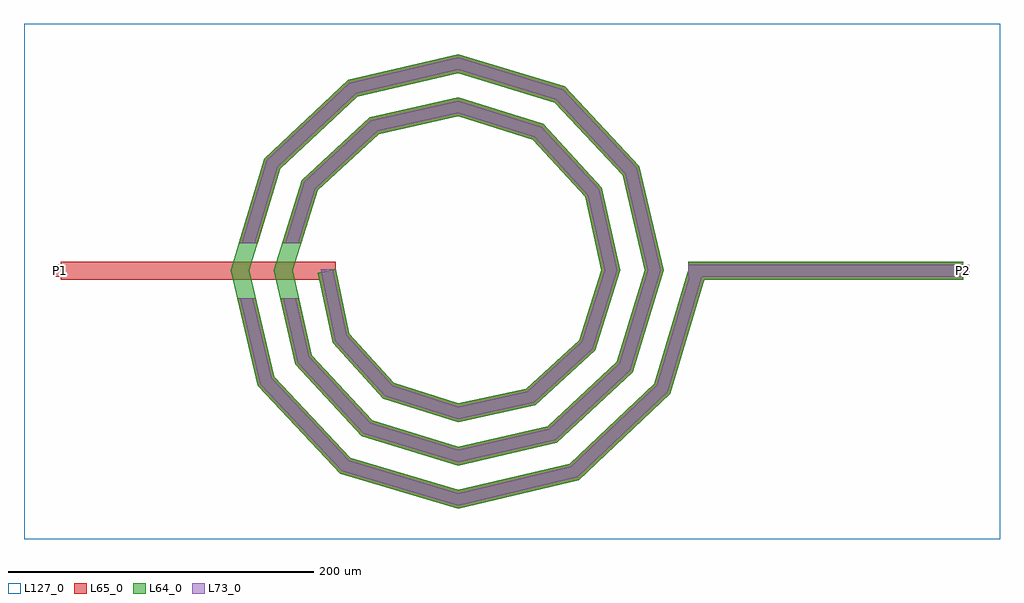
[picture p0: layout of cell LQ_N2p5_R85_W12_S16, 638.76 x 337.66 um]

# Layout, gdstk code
import gdstk
lib = gdstk.Library(unit=1e-6, precision=1e-09)
def R(c, l, rs):  # rectangles x0, y0, x1, y1
    for r in rs: c.add(gdstk.rectangle(r[:2], r[2:], *l))
def P(c, l, *ps):  # polygons
    for p in ps: c.add(gdstk.Polygon(p, *l))
L64_0 = (64, 0)
L65_0 = (65, 0)
L73_0 = (73, 0)
L127_0 = (127, 0)

lq_n2p5_r85_w12_s16 = lib.new_cell('LQ_N2p5_R85_W12_S16')
R(lq_n2p5_r85_w12_s16, L64_0, [(150.78,-6,330.78,6)])
P(lq_n2p5_r85_w12_s16, L64_0, [(-70.973,-41.334),(-41.984,-73.322),(0.294,-86.851),(44.853,-77.115),(79.442,-45.543),(93.93,0.273),(83.256,48.376),(49.099,85.564),(0.255,101.01),(-51.901,89.396),(-91.687,52.653),(-108.09,0.239),(-95.535,-55.428),(-56.206,-97.811),(0.225,-115.17),(58.956,-101.673),(103.936,-59.757),(122.25,0.213),(107.811,62.486),(63.307,110.062),(0.202,129.33),(-66.017,113.948),(-116.188,66.856),(-136.41,0.192),(-120.084,-69.548),(-70.404,-122.315),(0.183,-143.49),(73.081,-126.22),(128.442,-73.952),(151.03,1.716),(162.529,-1.716),(139.02,-80.468),(78.979,-137.155),(0.183,-155.909),(-76.935,-132.884),(-131.027,-75.431),(-148.828,0.192),(-126.747,73.403),(-71.882,124.9),(0.202,141.747),(69.871,120.61),(118.773,68.332),(134.667,0.213),(114.472,-66.341),(64.782,-112.647),(0.225,-127.586),(-62.812,-108.334),(-106.522,-61.23),(-120.505,0.239),(-102.194,59.284),(-57.676,100.397),(0.255,113.424),(55.758,96.054),(94.273,54.121),(106.343,0.273),(89.912,-52.234),(50.563,-88.151),(0.294,-99.262),(-48.712,-83.769),(-82.03,-47.003),(-91.843,-1.258),(-80.109,1.258)])
R(lq_n2p5_r85_w12_s16, L65_0, [(-259.976,-6,-79.976,6), (150.78,-6,330.78,6), (-263.976,-4,-255.976,4), (326.78,-4,334.78,4)])
P(lq_n2p5_r85_w12_s16, L65_0, [(-120.084,-69.548),(-70.404,-122.315),(0.183,-143.49),(73.081,-126.22),(128.442,-73.952),(151.03,1.716),(162.529,-1.716),(139.02,-80.468),(78.979,-137.155),(0.183,-155.909),(-76.935,-132.884),(-131.027,-75.431),(-144.546,-18),(-132.218,-18)],
  [(-95.535,-55.428),(-56.206,-97.811),(0.225,-115.17),(58.956,-101.673),(103.936,-59.757),(122.25,0.213),(107.811,62.486),(63.307,110.062),(0.202,129.33),(-66.017,113.948),(-116.188,66.856),(-130.923,18),(-143.457,18),(-126.747,73.403),(-71.882,124.9),(0.202,141.748),(69.871,120.61),(118.773,68.333),(134.667,0.213),(114.472,-66.341),(64.782,-112.647),(0.225,-127.586),(-62.812,-108.334),(-106.522,-61.23),(-116.356,-18),(-104.049,-18)],
  [(-41.984,-73.322),(0.294,-86.851),(44.853,-77.115),(79.442,-45.543),(93.93,0.273),(83.256,48.376),(49.099,85.564),(0.255,101.01),(-51.901,89.396),(-91.687,52.653),(-102.434,18),(-114.997,18),(-102.194,59.284),(-57.676,100.397),(0.255,113.424),(55.758,96.054),(94.274,54.121),(106.343,0.273),(89.912,-52.234),(50.563,-88.151),(0.294,-99.262),(-48.712,-83.769),(-82.03,-47.003),(-91.843,-1.259),(-80.109,1.259),(-70.973,-41.334)])
R(lq_n2p5_r85_w12_s16, L73_0, [(150.78,-4,330.78,4)])
P(lq_n2p5_r85_w12_s16, L73_0, [(-121.908,-70.529),(-71.493,-124.077),(0.122,-145.56),(74.064,-128.042),(130.205,-75.038),(152.947,1.144),(160.613,-1.144),(137.257,-79.382),(77.996,-135.332),(0.122,-153.839),(-75.847,-131.123),(-129.203,-74.45),(-142.491,-18),(-134.273,-18)],
  [(-97.366,-56.395),(-57.307,-99.565),(0.15,-117.239),(59.927,-103.502),(105.692,-60.854),(124.319,0.142),(109.638,63.46),(64.401,111.82),(0.135,131.399),(-66.994,115.773),(-117.948,67.947),(-133.012,18),(-141.368,18),(-124.988,72.312),(-70.905,123.075),(0.135,139.678),(68.777,118.852),(116.946,67.358),(132.597,0.142),(112.716,-65.244),(63.811,-110.818),(0.15,-125.517),(-61.711,-106.58),(-104.691,-60.263),(-114.305,-18),(-106.101,-18)],
  [(-43.106,-75.063),(0.196,-88.919),(45.805,-78.955),(81.187,-46.658),(95.999,0.182),(85.093,49.334),(50.209,87.312),(0.17,103.079),(-52.864,91.23),(-93.438,53.759),(-104.527,18),(-112.903,18),(-100.443,58.179),(-56.714,98.564),(0.17,111.355),(54.648,94.306),(92.437,53.163),(104.274,0.182),(88.167,-51.119),(49.612,-86.312),(0.196,-97.194),(-47.591,-82.028),(-80.187,-46.058),(-89.887,0.839),(-82.065,0.839),(-72.816,-42.278)])
R(lq_n2p5_r85_w12_s16, L127_0, [(-283.976,-175.909,354.78,161.748)])
lq_n2p5_r85_w12_s16.add(gdstk.Label('P2', (330.78,0), layer=65, texttype=0))
lq_n2p5_r85_w12_s16.add(gdstk.Label('P1', (-259.976,0), layer=65, texttype=0))
lq_n2p5_r85_w12_s16.add(gdstk.Label('P2', (334.78,0), layer=145, texttype=0))
lq_n2p5_r85_w12_s16.add(gdstk.Label('P1', (-263.976,0), layer=145, texttype=0))

lib.write_gds('LQ_N2p5_R85_W12_S16.gds')
